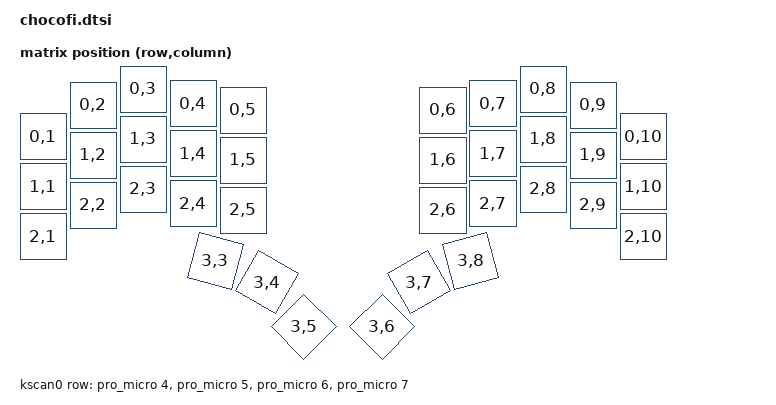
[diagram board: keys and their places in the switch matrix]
/*
 * Copyright (c) 2025 Silvio Gregorini
 *
 * SPDX-License-Identifier: MIT
 */

#include <dt-bindings/zmk/matrix_transform.h>

#include <./5column.dtsi>

&foostan_chocofi_5col_layout {
    transform = <&five_column_transform>;
};

/ {
    chosen {
        zephyr,display = &oled;
        zmk,kscan = &kscan0;
        zmk,physical-layout = &physical_layout0;
    };

    five_column_transform: keymap_transform_0 {
        compatible = "zmk,matrix-transform";
        columns = <10>;
        rows = <4>;
// | SW2  | SW3  | SW4  | SW5  | SW6  |   | SW6  | SW5  | SW4  | SW3  | SW2  |
// | SW8  | SW9  | SW10 | SW11 | SW12 |   | SW12 | SW11 | SW10 | SW9  | SW8  |
// | SW14 | SW15 | SW16 | SW17 | SW18 |   | SW18 | SW17 | SW16 | SW15 | SW14 |
//               | SW19 | SW20 | SW21 |   | SW21 | SW20 | SW19 |
        map = <
RC(0,1) RC(0,2) RC(0,3) RC(0,4) RC(0,5)  RC(0,6) RC(0,7) RC(0,8) RC(0,9) RC(0,10)
RC(1,1) RC(1,2) RC(1,3) RC(1,4) RC(1,5)  RC(1,6) RC(1,7) RC(1,8) RC(1,9) RC(1,10)
RC(2,1) RC(2,2) RC(2,3) RC(2,4) RC(2,5)  RC(2,6) RC(2,7) RC(2,8) RC(2,9) RC(2,10)
                        RC(3,3) RC(3,4) RC(3,5)  RC(3,6) RC(3,7) RC(3,8)
        >;
    };

    kscan0: kscan {
        compatible = "zmk,kscan-gpio-matrix";
        wakeup-source;

        diode-direction = "col2row";
        row-gpios
            = <&pro_micro 4 (GPIO_ACTIVE_HIGH | GPIO_PULL_DOWN)>
            , <&pro_micro 5 (GPIO_ACTIVE_HIGH | GPIO_PULL_DOWN)>
            , <&pro_micro 6 (GPIO_ACTIVE_HIGH | GPIO_PULL_DOWN)>
            , <&pro_micro 7 (GPIO_ACTIVE_HIGH | GPIO_PULL_DOWN)>
            ;

    };

#include <physical_layouts.dtsi>

/ {
    physical_layout0: physical_layout_0 {
        compatible = "zmk,physical-layout";
        display-name = "Default";

        kscan = <&kscan0>;
        transform = <&matrix_transform0>;

        keys  //                     w   h    x    y     rot    rx    ry
            = <&key_physical_attrs 100 100    0   95       0     0     0>
            , <&key_physical_attrs 100 100  100   32       0     0     0>
            , <&key_physical_attrs 100 100  200    0       0     0     0>
            , <&key_physical_attrs 100 100  300   29       0     0     0>
            , <&key_physical_attrs 100 100  400   42       0     0     0>
            , <&key_physical_attrs 100 100  800   42       0     0     0>
            , <&key_physical_attrs 100 100  900   29       0     0     0>
            , <&key_physical_attrs 100 100 1000    0       0     0     0>
            , <&key_physical_attrs 100 100 1100   32       0     0     0>
            , <&key_physical_attrs 100 100 1200   95       0     0     0>
            , <&key_physical_attrs 100 100    0  195       0     0     0>
            , <&key_physical_attrs 100 100  100  132       0     0     0>
            , <&key_physical_attrs 100 100  200  100       0     0     0>
            , <&key_physical_attrs 100 100  300  129       0     0     0>
            , <&key_physical_attrs 100 100  400  142       0     0     0>
            , <&key_physical_attrs 100 100  800  142       0     0     0>
            , <&key_physical_attrs 100 100  900  129       0     0     0>
            , <&key_physical_attrs 100 100 1000  100       0     0     0>
            , <&key_physical_attrs 100 100 1100  132       0     0     0>
            , <&key_physical_attrs 100 100 1200  195       0     0     0>
            , <&key_physical_attrs 100 100    0  295       0     0     0>
            , <&key_physical_attrs 100 100  100  232       0     0     0>
            , <&key_physical_attrs 100 100  200  200       0     0     0>
            , <&key_physical_attrs 100 100  300  229       0     0     0>
            , <&key_physical_attrs 100 100  400  242       0     0     0>
            , <&key_physical_attrs 100 100  800  242       0     0     0>
            , <&key_physical_attrs 100 100  900  229       0     0     0>
            , <&key_physical_attrs 100 100 1000  200       0     0     0>
            , <&key_physical_attrs 100 100 1100  232       0     0     0>
            , <&key_physical_attrs 100 100 1200  295       0     0     0>
            , <&key_physical_attrs 100 100  330  355    1500   430   455>
            , <&key_physical_attrs 100 100  430  355    3000   430   455>
            , <&key_physical_attrs 100 100  530  355    4500   430   455>
            , <&key_physical_attrs 100 100  670  355 (-4500)   870   455>
            , <&key_physical_attrs 100 100  770  355 (-3000)   870   455>
            , <&key_physical_attrs 100 100  870  355 (-1500)   870   455>
            ;
    };
};

    // TODO: per-key RGB node(s)?
};

&pro_micro_i2c {
    status = "okay";

    oled: ssd1306@3c {
        compatible = "solomon,ssd1306fb";
        reg = <0x3c>;
        width = <128>;
        height = <32>;
        segment-offset = <0>;
        page-offset = <0>;
        display-offset = <0>;
        multiplex-ratio = <31>;
        segment-remap;
        com-invdir;
        com-sequential;
        inversion-on;
        prechargep = <0x22>;
    };
};
